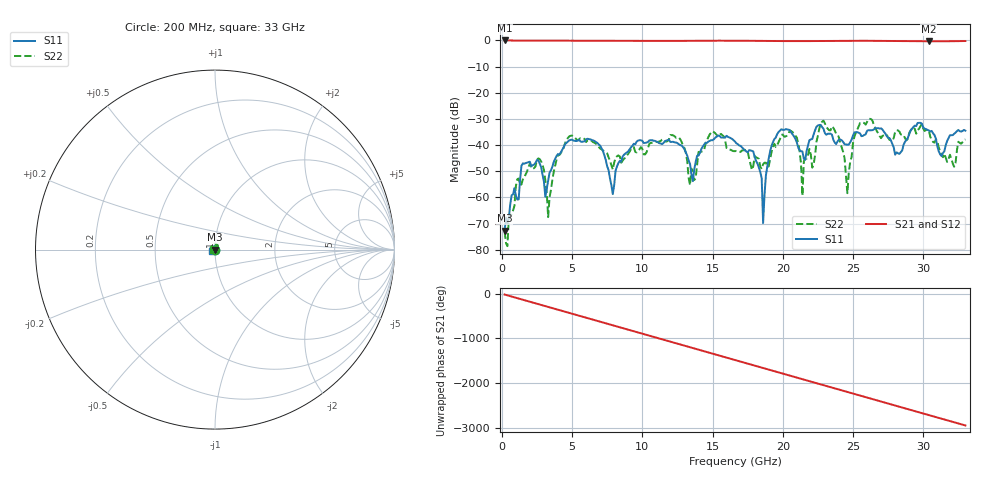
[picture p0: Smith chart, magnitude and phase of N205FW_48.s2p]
# GHZ S RI R 50
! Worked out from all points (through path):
!   329 points, 200 MHz to 33 GHz, reference 50 ohm
!   highest |S21| = -0.02 dB at 200 MHz (marker M1); lowest = -0.4 dB at 30.4 GHz (marker M2)
!   group delay of S21, straight-line fit = 248 ps
!   lowest |S11| = -72.7 dB at 200 MHz (marker M3), VSWR 1.00, Z = 50 + j0.00484 ohm
!   |S11| at or under -10 dB: start of sweep to end of sweep
!   |S22| runs from -78.6 to -30.0 dB; largest |S21 - S12| = 0.0022
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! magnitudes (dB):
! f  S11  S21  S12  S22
! 200 MHz  -72.7  0.0  0.0  -73.1
! 1.5 GHz  -47.0  -0.1  -0.1  -53.1
! 2.7 GHz  -47.1  -0.1  -0.1  -45.4
! 3.3 GHz  -53.4  -0.1  -0.1  -67.5
! 4 GHz  -43.4  -0.1  -0.1  -43.9
! 5.7 GHz  -38.8  -0.1  -0.1  -37.3
! 7.9 GHz  -58.7  -0.1  -0.1  -49.3
! 11.2 GHz  -39.3  -0.2  -0.2  -38.6
! 13.4 GHz  -47.2  -0.2  -0.2  -55.3
! 15 GHz  -38.2  -0.1  -0.1  -34.7
! 16.6 GHz  -38.7  -0.1  -0.1  -42.3
! 18.3 GHz  -48.6  -0.2  -0.2  -45.3
! 18.6 GHz  -69.8  -0.2  -0.2  -47.3
! 19.6 GHz  -35.8  -0.2  -0.2  -40.0
! 21.4 GHz  -42.5  -0.3  -0.3  -59.3
! 22.1 GHz  -37.7  -0.3  -0.3  -48.6
! 22.9 GHz  -33.8  -0.2  -0.2  -30.7
! 24.6 GHz  -39.8  -0.2  -0.2  -58.4
! 25.5 GHz  -35.5  -0.1  -0.1  -31.6
! 27.6 GHz  -37.3  -0.2  -0.2  -38.0
! 30.4 GHz  -34.4  -0.4  -0.4  -34.3
! 33 GHz  -34.5  -0.2  -0.2  -37.9
